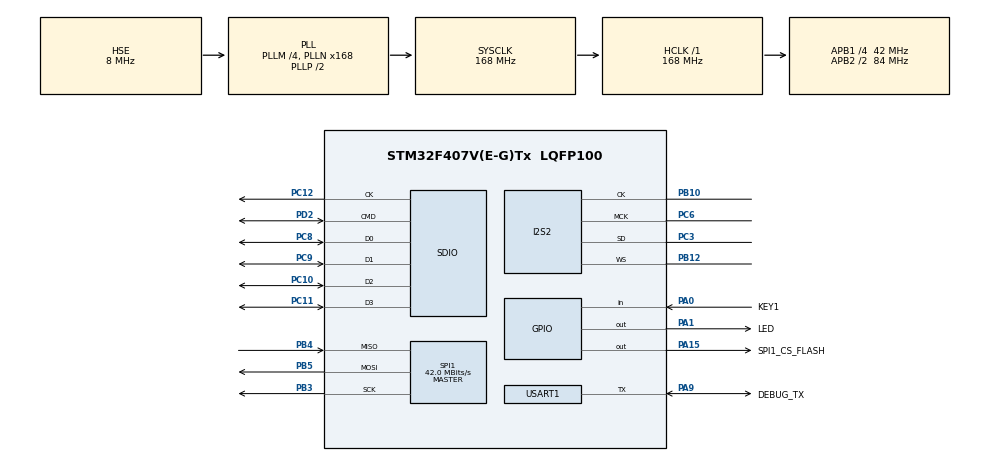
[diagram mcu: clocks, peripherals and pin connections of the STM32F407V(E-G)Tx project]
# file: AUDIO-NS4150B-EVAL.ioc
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Dma.MEMTOMEM.1.Direction=DMA_MEMORY_TO_MEMORY
Dma.MEMTOMEM.1.FIFOMode=DMA_FIFOMODE_ENABLE
Dma.MEMTOMEM.1.FIFOThreshold=DMA_FIFO_THRESHOLD_FULL
Dma.MEMTOMEM.1.Instance=DMA2_Stream0
Dma.MEMTOMEM.1.MemBurst=DMA_MBURST_SINGLE
Dma.MEMTOMEM.1.MemDataAlignment=DMA_MDATAALIGN_HALFWORD
Dma.MEMTOMEM.1.MemInc=DMA_MINC_ENABLE
Dma.MEMTOMEM.1.Mode=DMA_NORMAL
Dma.MEMTOMEM.1.PeriphBurst=DMA_PBURST_SINGLE
Dma.MEMTOMEM.1.PeriphDataAlignment=DMA_PDATAALIGN_HALFWORD
Dma.MEMTOMEM.1.PeriphInc=DMA_PINC_DISABLE
Dma.MEMTOMEM.1.Priority=DMA_PRIORITY_HIGH
Dma.Request0=SPI2_TX
Dma.Request1=MEMTOMEM
Dma.SPI2_TX.0.Direction=DMA_MEMORY_TO_PERIPH
Dma.SPI2_TX.0.FIFOMode=DMA_FIFOMODE_DISABLE
Dma.SPI2_TX.0.Instance=DMA1_Stream4
Dma.SPI2_TX.0.MemDataAlignment=DMA_MDATAALIGN_HALFWORD
Dma.SPI2_TX.0.MemInc=DMA_MINC_ENABLE
Dma.SPI2_TX.0.Mode=DMA_CIRCULAR
Dma.SPI2_TX.0.PeriphDataAlignment=DMA_PDATAALIGN_HALFWORD
Dma.SPI2_TX.0.PeriphInc=DMA_PINC_DISABLE
Dma.SPI2_TX.0.Priority=DMA_PRIORITY_VERY_HIGH
FATFS._CODE_PAGE=936
FATFS._USE_FIND=1
FATFS._USE_MKFS=0
I2S2.AudioFreq=I2S_AUDIOFREQ_44K
I2S2.ErrorAudioFreq=10.97 %
I2S2.FullDuplexMode=I2S_FULLDUPLEXMODE_DISABLE
I2S2.Instance=SPI$Index
I2S2.RealAudioFreq=48.828 KHz
I2S2.VirtualMode=I2S_MODE_MASTER
Mcu.Family=STM32F4
Mcu.Name=STM32F407V(E-G)Tx
Mcu.Package=LQFP100
NVIC.DMA1_Stream4_IRQn=true\:2\:0\:true\:false\:true\:false\:true\:true
NVIC.DMA2_Stream0_IRQn=true\:3\:0\:true\:false\:true\:true\:true\:true
NVIC.PriorityGroup=NVIC_PRIORITYGROUP_4
PA0-WKUP.GPIO_Label=KEY1
PA0-WKUP.GPIO_PuPd=GPIO_PULLUP
PA0-WKUP.Signal=GPIO_Input
PA1.GPIO_Label=LED
PA1.Signal=GPIO_Output
PA13.Mode=Serial_Wire
PA13.Signal=SYS_JTMS-SWDIO
PA14.Mode=Serial_Wire
PA14.Signal=SYS_JTCK-SWCLK
PA15.GPIO_Label=SPI1_CS_FLASH
PA15.Signal=GPIO_Output
PA9.GPIO_Label=DEBUG_TX
PA9.Mode=Half_duplex(single_wire_mode)
PA9.Signal=USART1_TX
PB10.Mode=Half_Duplex_Master
PB10.Signal=I2S2_CK
PB12.Mode=Half_Duplex_Master
PB12.Signal=I2S2_WS
PB3.Mode=Full_Duplex_Master
PB3.Signal=SPI1_SCK
PB4.Mode=Full_Duplex_Master
PB4.Signal=SPI1_MISO
PB5.Mode=Full_Duplex_Master
PB5.Signal=SPI1_MOSI
PC10.Mode=SD_4_bits_Wide_bus
PC10.Signal=SDIO_D2
PC11.Mode=SD_4_bits_Wide_bus
PC11.Signal=SDIO_D3
PC12.Mode=SD_4_bits_Wide_bus
PC12.Signal=SDIO_CK
PC3.Mode=Half_Duplex_Master
PC3.Signal=I2S2_SD
PC6.Mode=Master_Clock_Activated
PC6.Signal=I2S2_MCK
PC8.Mode=SD_4_bits_Wide_bus
PC8.Signal=SDIO_D0
PC9.Mode=SD_4_bits_Wide_bus
PC9.Signal=SDIO_D1
PD2.Mode=SD_4_bits_Wide_bus
PD2.Signal=SDIO_CMD
PH0-OSC_IN.Mode=HSE-External-Oscillator
PH0-OSC_IN.Signal=RCC_OSC_IN
PH1-OSC_OUT.Mode=HSE-External-Oscillator
PH1-OSC_OUT.Signal=RCC_OSC_OUT
ProjectManager.HeapSize=0x8000
ProjectManager.StackSize=0x8000
ProjectManager.TargetToolchain=MDK-ARM V5
RCC.48MHZClocksFreq_Value=48000000
RCC.AHBFreq_Value=168000000
RCC.APB1CLKDivider=RCC_HCLK_DIV4
RCC.APB1Freq_Value=42000000
RCC.APB1TimFreq_Value=84000000
RCC.APB2CLKDivider=RCC_HCLK_DIV2
RCC.APB2Freq_Value=84000000
RCC.APB2TimFreq_Value=168000000
RCC.CortexFreq_Value=168000000
RCC.HCLKFreq_Value=168000000
RCC.HSE_VALUE=8000000
RCC.HSI_VALUE=16000000
RCC.LSE_VALUE=32768
RCC.PLLI2SN=50
RCC.PLLM=4
RCC.PLLN=168
RCC.PLLQ=7
RCC.PLLSourceVirtual=RCC_PLLSOURCE_HSE
RCC.SYSCLKFreq_VALUE=168000000
RCC.SYSCLKSource=RCC_SYSCLKSOURCE_PLLCLK
RCC.VCOOutputFreq_Value=336000000
SPI1.CalculateBaudRate=42.0 MBits/s
SPI1.Direction=SPI_DIRECTION_2LINES
SPI1.Mode=SPI_MODE_MASTER
SPI1.VirtualType=VM_MASTER
USART1.BaudRate=9600
USART1.VirtualMode=VM_ASYNC
VP_CRC_VS_CRC.Mode=CRC_Activate
VP_FATFS_VS_SDIO.Mode=SDIO
board=custom

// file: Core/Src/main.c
/* USER CODE BEGIN Header */
/**
  ******************************************************************************
  * @file           : main.c
  * @brief          : Main program body
  ******************************************************************************
  * @attention
  *
  * Copyright (c) 2024 STMicroelectronics.
  * All rights reserved.
  *
  * This software is licensed under terms that can be found in the LICENSE file
  * in the root directory of this software component.
  * If no LICENSE file comes with this software, it is provided AS-IS.
  *
  ******************************************************************************
  */
/* USER CODE END Header */
#include "main.h"
#include "crc.h"
#include "dma.h"
#include "fatfs.h"
#include "i2s.h"
#include "sdio.h"
#include "spi.h"
#include "usart.h"
#include "gpio.h"

/* USER CODE BEGIN Includes */
#include "wavDecoder.h"
#include "i2sAudio.h"
#include "files.h"
#include <stdio.h>
#include "debug_usart.h"
/* USER CODE END Includes */

void SystemClock_Config(void);
/* USER CODE BEGIN PFP */
//struct mallinfo info;

//void updateMemInfo(void){
//  static uint32_t tim;                // Update every 100mS
//  uint32_t current = HAL_GetTick();
//  if(current-tim>99){
//    tim=current;
//    info = mallinfo();
//  }
//}
/* USER CODE END PFP */

int main(void)
{

  /* MCU Configuration--------------------------------------------------------*/

  /* Reset of all peripherals, Initializes the Flash interface and the Systick. */
  HAL_Init();

  /* Configure the system clock */
  SystemClock_Config();

  /* Initialize all configured peripherals */
  MX_GPIO_Init();
  MX_DMA_Init();
  MX_I2S2_Init();
  MX_CRC_Init();
  MX_SPI1_Init();
  MX_SDIO_SD_Init();
  MX_FATFS_Init();
  MX_USART1_UART_Init();
  /* USER CODE BEGIN 2 */
  HAL_Delay(2000);
  BSP_SD_Init();
  HAL_SD_CardInfoTypeDef CardInfo;
  HAL_SD_GetCardInfo(&hsd, &CardInfo);
  printf("SDCard %.2fGB.\n", (double)CardInfo.BlockNbr / 1024 * CardInfo.BlockSize / 1024 / 1024);
  initAudio(&hi2s2);

  // turn on led
  HAL_GPIO_WritePin(LED_GPIO_Port, LED_Pin, GPIO_PIN_SET);
  extern system_t systemStatus;
  systemStatus.driveStatus = drive_inserted;
  printf("AUDIO-NS4150B-EVAL v1.0 booting.\n");

  /* USER CODE END 2 */

  /* Infinite loop */
  /* USER CODE BEGIN WHILE */
  while (1)
  {
    //updateMemInfo();
	  handleFS();
	  handleAudio();
    /* USER CODE END WHILE */

  }
}

void SystemClock_Config(void)
{
  RCC_OscInitTypeDef RCC_OscInitStruct = {0};
  RCC_ClkInitTypeDef RCC_ClkInitStruct = {0};

  /** Configure the main internal regulator output voltage
  */
  __HAL_RCC_PWR_CLK_ENABLE();
  __HAL_PWR_VOLTAGESCALING_CONFIG(PWR_REGULATOR_VOLTAGE_SCALE1);

  /** Initializes the RCC Oscillators according to the specified parameters
  * in the RCC_OscInitTypeDef structure.
  */
  RCC_OscInitStruct.OscillatorType = RCC_OSCILLATORTYPE_HSE;
  RCC_OscInitStruct.HSEState = RCC_HSE_ON;
  RCC_OscInitStruct.PLL.PLLState = RCC_PLL_ON;
  RCC_OscInitStruct.PLL.PLLSource = RCC_PLLSOURCE_HSE;
  RCC_OscInitStruct.PLL.PLLM = 4;
  RCC_OscInitStruct.PLL.PLLN = 168;
  RCC_OscInitStruct.PLL.PLLP = RCC_PLLP_DIV2;
  RCC_OscInitStruct.PLL.PLLQ = 7;
  if (HAL_RCC_OscConfig(&RCC_OscInitStruct) != HAL_OK)
  {
    Error_Handler();
  }

  /** Initializes the CPU, AHB and APB buses clocks
  */
  RCC_ClkInitStruct.ClockType = RCC_CLOCKTYPE_HCLK|RCC_CLOCKTYPE_SYSCLK
                              |RCC_CLOCKTYPE_PCLK1|RCC_CLOCKTYPE_PCLK2;
  RCC_ClkInitStruct.SYSCLKSource = RCC_SYSCLKSOURCE_PLLCLK;
  RCC_ClkInitStruct.AHBCLKDivider = RCC_SYSCLK_DIV1;
  RCC_ClkInitStruct.APB1CLKDivider = RCC_HCLK_DIV4;
  RCC_ClkInitStruct.APB2CLKDivider = RCC_HCLK_DIV2;

  if (HAL_RCC_ClockConfig(&RCC_ClkInitStruct, FLASH_LATENCY_5) != HAL_OK)
  {
    Error_Handler();
  }
}

void Error_Handler(void)
{
  __disable_irq();
  while (1)
  {
  }
}
